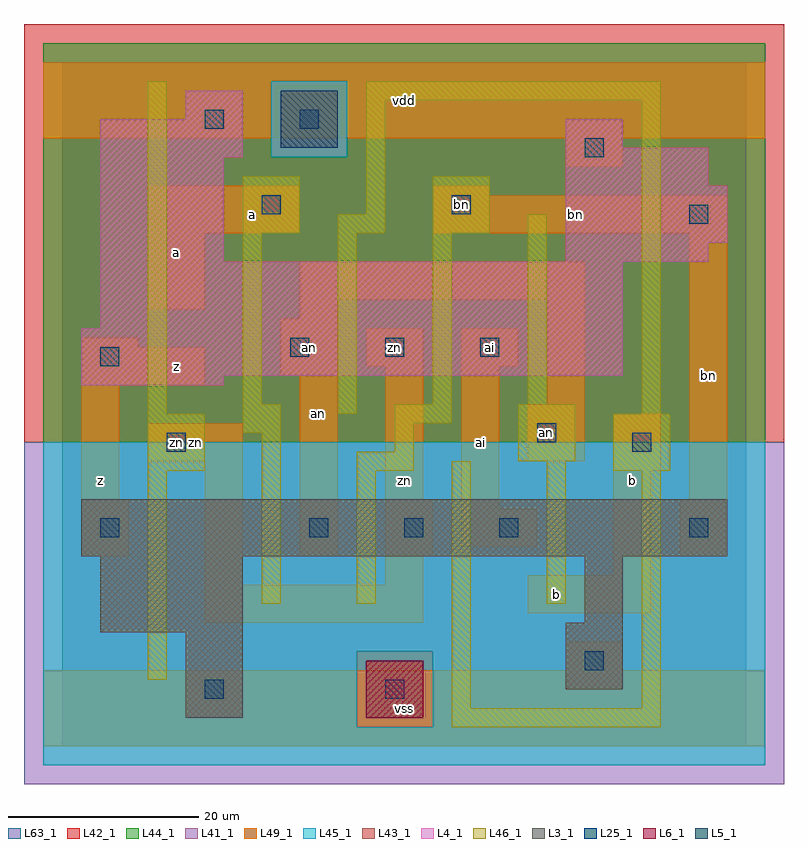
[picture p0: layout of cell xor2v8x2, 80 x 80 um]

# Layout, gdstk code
import gdstk
lib = gdstk.Library(unit=1e-6, precision=1e-09)
def R(c, l, rs):  # rectangles x0, y0, x1, y1
    for r in rs: c.add(gdstk.rectangle(r[:2], r[2:], *l))
def A(c, l, x, y, w, h, nx, ny, dx, dy):  # array of equal rectangles
    R(c, l, [(x+i*dx, y+j*dy, x+i*dx+w, y+j*dy+h) for i in range(nx) for j in range(ny)])
L3_1 = (3, 1)
L4_1 = (4, 1)
L5_1 = (5, 1)
L6_1 = (6, 1)
L25_1 = (25, 1)
L41_1 = (41, 1)
L42_1 = (42, 1)
L43_1 = (43, 1)
L44_1 = (44, 1)
L45_1 = (45, 1)
L46_1 = (46, 1)
L49_1 = (49, 1)
L63_1 = (63, 1)

xor2v8x2 = lib.new_cell('xor2v8x2')
R(xor2v8x2, L3_1, [(13,3,19,12), (53,6,59,13), (4,12,19,20), (55,13,59,20), (2,20,70,26)])
R(xor2v8x2, L4_1, [(2,38,17,39), (2,39,59,44), (4,44,59,51), (4,51,17,62), (53,51,68,53), (53,53,70,59), (53,59,68,63), (4,62,19,66), (53,63,59,66), (13,66,19,69)])
R(xor2v8x2, L5_1, [(23,63,29,69)])
R(xor2v8x2, L6_1, [(32,3,38,9), (32,3,38,9)])
A(xor2v8x2, L25_1, 26, 22, 2, 2, 3, 1, 10, 0)
A(xor2v8x2, L25_1, 24, 41, 2, 2, 3, 1, 10, 0)
R(xor2v8x2, L25_1, [(15,5,17,7), (34,5,36,7), (55,8,57,10), (4,22,6,24), (66,22,68,24), (11,31,13,33), (60,31,62,33), (50,32,52,34), (4,40,6,42), (66,55,68,57), (21,56,23,58), (41,56,43,58), (55,62,57,64), (15,65,17,67), (25,65,27,67)])
R(xor2v8x2, L41_1, [(-4,-4,76,32)])
R(xor2v8x2, L42_1, [(-4,32,76,76)])
R(xor2v8x2, L43_1, [(13,3,19,12), (32,3,38,9), (53,6,59,13), (4,12,19,20), (55,13,59,20), (2,20,70,26), (2,38,17,39), (2,39,59,44), (4,44,59,51), (4,51,17,62), (53,51,68,53), (53,53,70,59), (53,59,68,63), (4,62,19,66), (23,63,29,69), (53,63,59,66), (13,66,19,69)])
R(xor2v8x2, L44_1, [(31,2,39,10), (-2,32,74,62), (-2,62,22,70), (30,62,74,70), (-2,70,74,74)])
R(xor2v8x2, L45_1, [(-2,-2,74,2), (-2,2,31,10), (39,2,74,10), (-2,10,74,32), (22,62,30,70)])
R(xor2v8x2, L46_1, [(41,2,63,4), (41,4,43,30), (61,4,63,29), (9,7,11,29), (21,15,23,33), (31,15,33,29), (51,15,53,30), (9,29,15,35), (31,29,37,31), (58,29,64,35), (48,30,54,36), (35,31,37,34), (19,33,23,36), (35,34,41,36), (9,35,11,70), (29,35,31,54), (61,35,63,68), (19,36,21,54), (39,36,41,54), (49,36,51,56), (19,54,25,60), (29,54,34,56), (39,54,45,60), (32,56,34,68), (32,68,63,70)])
R(xor2v8x2, L49_1, [(-2,0,74,8), (53,8,59,11), (15,13,38,17), (49,14,62,18), (15,17,19,30), (34,17,38,20), (58,18,62,29), (2,20,7,26), (25,20,29,39), (34,20,39,26), (65,20,70,26), (42,21,50,25), (42,25,46,40), (2,26,6,38), (34,26,38,40), (66,26,70,54), (58,29,63,35), (9,30,19,34), (49,30,55,36), (51,36,55,47), (2,38,15,42), (23,39,29,45), (32,40,38,44), (42,40,48,44), (2,42,8,43), (25,45,29,47), (9,46,15,54), (25,47,55,51), (9,54,25,59), (39,54,70,58), (39,58,45,59), (53,61,59,64), (-2,64,74,72)])
R(xor2v8x2, L63_1, [(0,0,72,72)])
xor2v8x2.add(gdstk.Label('zn', (12,32), layer=49, texttype=1))
xor2v8x2.add(gdstk.Label('bn', (42,57), layer=49, texttype=1))
xor2v8x2.add(gdstk.Label('an', (51,33), layer=49, texttype=1))
xor2v8x2.add(gdstk.Label('z', (4,28), layer=49, texttype=1))
xor2v8x2.add(gdstk.Label('z', (12,40), layer=49, texttype=1))
xor2v8x2.add(gdstk.Label('a', (12,52), layer=49, texttype=1))
xor2v8x2.add(gdstk.Label('zn', (14,32), layer=49, texttype=1))
xor2v8x2.add(gdstk.Label('an', (27,35), layer=49, texttype=1))
xor2v8x2.add(gdstk.Label('an', (26,42), layer=49, texttype=1))
xor2v8x2.add(gdstk.Label('a', (20,56), layer=49, texttype=1))
xor2v8x2.add(gdstk.Label('vss', (36,4), layer=49, texttype=1))
xor2v8x2.add(gdstk.Label('b', (52,16), layer=49, texttype=1))
xor2v8x2.add(gdstk.Label('an', (52,33), layer=49, texttype=1))
xor2v8x2.add(gdstk.Label('ai', (44,32), layer=49, texttype=1))
xor2v8x2.add(gdstk.Label('zn', (36,28), layer=49, texttype=1))
xor2v8x2.add(gdstk.Label('zn', (35,42), layer=49, texttype=1))
xor2v8x2.add(gdstk.Label('ai', (45,42), layer=49, texttype=1))
xor2v8x2.add(gdstk.Label('vdd', (36,68), layer=49, texttype=1))
xor2v8x2.add(gdstk.Label('b', (60,28), layer=49, texttype=1))
xor2v8x2.add(gdstk.Label('bn', (54,56), layer=49, texttype=1))
xor2v8x2.add(gdstk.Label('bn', (68,39), layer=49, texttype=1))

lib.write_gds('xor2v8x2.gds')
